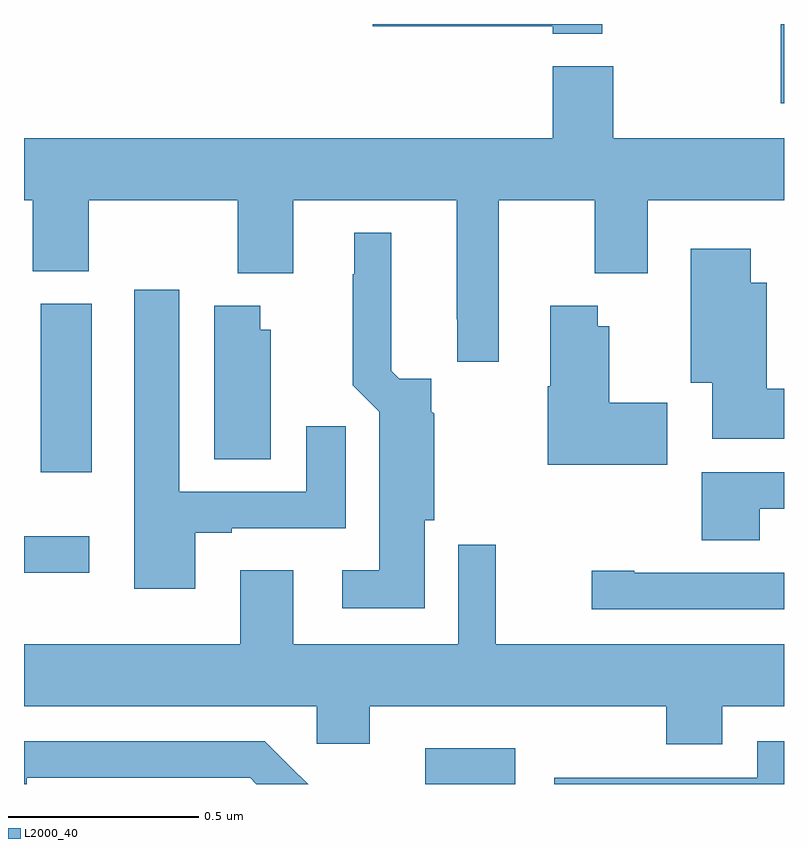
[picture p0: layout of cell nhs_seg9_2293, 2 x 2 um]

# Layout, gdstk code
import gdstk
lib = gdstk.Library(unit=1e-6, precision=1e-09)
def R(c, l, rs):  # rectangles x0, y0, x1, y1
    for r in rs: c.add(gdstk.rectangle(r[:2], r[2:], *l))
def P(c, l, *ps):  # polygons
    for p in ps: c.add(gdstk.Polygon(p, *l))
L2000_40 = (2000, 40)

nhs_seg9_2293 = lib.new_cell('nhs_seg9_2293')
R(nhs_seg9_2293, L2000_40, [(139.056,1245.5,139.293,1245.594), (138,1246.056,138.172,1246.152), (138.044,1246.32,138.178,1246.764), (139.991,1247.291,140,1247.5)])
P(nhs_seg9_2293, L2000_40, [(139.522,1247.5),(138.918,1247.5),(138.918,1247.494),(139.392,1247.494),(139.392,1247.474),(139.522,1247.474)],
  [(139.249,1247.036),(139.502,1247.036),(139.502,1246.844),(139.642,1246.844),(139.642,1247.036),(140,1247.036),(140,1247.2),(139.551,1247.2),(139.551,1247.389),(139.391,1247.389),(139.391,1247.2),(138,1247.2),(138,1247.036),(138.023,1247.036),(138.023,1246.849),(138.171,1246.849),(138.171,1247.036),(138.562,1247.036),(138.562,1246.844),(138.709,1246.844),(138.709,1247.036),(139.139,1247.036),(139.139,1246.723),(139.14,1246.723),(139.14,1246.611),(139.249,1246.611)],
  [(139.054,1246.194),(139.08,1246.194),(139.08,1246.474),(139.072,1246.481),(139.072,1246.566),(138.988,1246.566),(138.967,1246.588),(138.967,1246.951),(138.869,1246.951),(138.869,1246.841),(138.865,1246.841),(138.865,1246.55),(138.935,1246.48),(138.935,1246.063),(138.837,1246.063),(138.837,1245.962),(139.054,1245.962)],
  [(140,1246.54),(139.954,1246.54),(139.954,1246.819),(139.912,1246.819),(139.912,1246.909),(139.754,1246.909),(139.754,1246.556),(139.811,1246.556),(139.811,1246.409),(140,1246.409)],
  [(138.451,1246.161),(138.547,1246.161),(138.547,1246.173),(138.847,1246.173),(138.847,1246.441),(138.743,1246.441),(138.743,1246.269),(138.409,1246.269),(138.409,1246.801),(138.29,1246.801),(138.29,1246.014),(138.451,1246.014)],
  [(139.693,1246.503),(139.54,1246.503),(139.54,1246.705),(139.51,1246.705),(139.51,1246.759),(139.385,1246.759),(139.385,1246.547),(139.378,1246.547),(139.378,1246.34),(139.693,1246.34)],
  [(138.649,1246.695),(138.622,1246.695),(138.622,1246.759),(138.5,1246.759),(138.5,1246.354),(138.649,1246.354)],
  [(139.936,1246.224),(140,1246.224),(140,1246.32),(139.784,1246.32),(139.784,1246.141),(139.936,1246.141)],
  [(139.837,1245.704),(140,1245.704),(140,1245.868),(139.242,1245.868),(139.242,1246.129),(139.143,1246.129),(139.143,1245.868),(138.709,1245.868),(138.709,1246.063),(138.569,1246.063),(138.569,1245.868),(138,1245.868),(138,1245.704),(138.771,1245.704),(138.771,1245.606),(138.91,1245.606),(138.91,1245.704),(139.69,1245.704),(139.69,1245.605),(139.837,1245.605)],
  [(140,1246.056),(139.606,1246.056),(139.606,1246.061),(139.494,1246.061),(139.494,1245.96),(140,1245.96)],
  [(138.007,1245.516),(138.595,1245.516),(138.611,1245.5),(138.748,1245.5),(138.726,1245.522),(138.725,1245.521),(138.634,1245.612),(138,1245.612),(138,1245.5),(138.007,1245.5)],
  [(140,1245.612),(139.929,1245.612),(139.929,1245.516),(139.395,1245.516),(139.395,1245.5),(140,1245.5)])

lib.write_gds('nhs_seg9_2293.gds')
